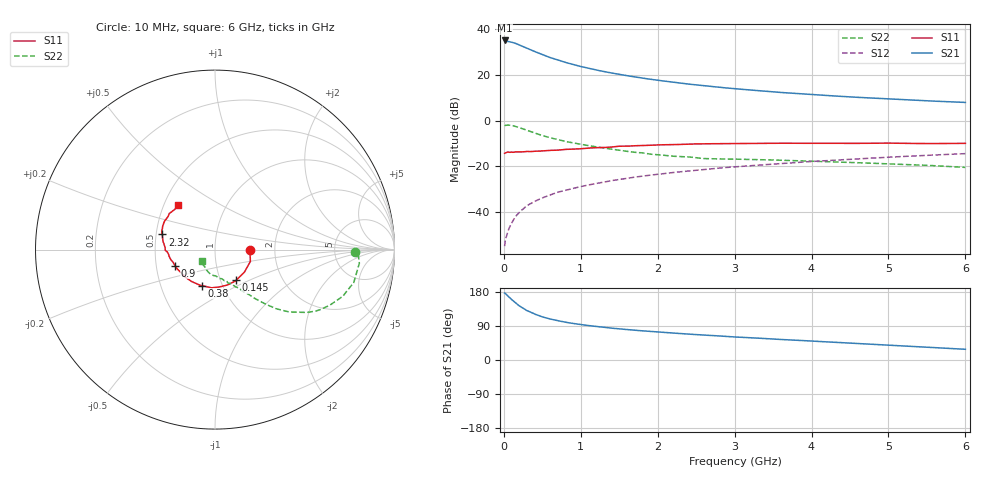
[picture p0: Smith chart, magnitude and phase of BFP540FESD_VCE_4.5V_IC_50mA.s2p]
! Infineon Technologies  Discrete & RF Semiconductors
! BFP540FESD
! VCE =  4.5 V,  IC =  50 mA
! Common Emitter S-Parameters:  Nov 2015
# GHz  S  MA  R  50
!  f  S11  S21  S12  S22
! GHz  MAG  ANG  MAG  ANG  MAG  ANG  MAG  ANG
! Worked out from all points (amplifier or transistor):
!   210 points, 10 MHz to 6 GHz, reference 50 ohm
!   highest |S21| = 35.2 dB at 10 MHz (marker M1)
!   |S21| within 3 dB of that: start of sweep to 274.3 MHz
!   unconditionally stable (mu >= 1): start of sweep to 47.57 MHz; 1.197 GHz to end of sweep
!   at 185 MHz: K = 0.67, MSG = 37.1 dB, |S12| = -40.7 dB
!   at 1.52 GHz: K = 1.03, MAG = 21.8 dB, |S12| = -25.6 dB
!   at 6 GHz: K = 1.16, MAG = 8.8 dB, |S12| = -14.4 dB
!   S11 on the Smith chart (normalised r, x): 10 MHz: 1.48, -0.00; 145 MHz: 1.19, -0.42; 380 MHz: 0.80, -0.34; 900 MHz: 0.63, -0.12; 2.32 GHz: 0.54, +0.10; 6 GHz: 0.59, +0.33
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0.01  0.1943 -0.1  57.35 176.7  0.0018 35.9  0.7822 -1.0
0.02  0.198 -8.8  55.37 175.3  0.0025 33.3  0.7942 0.1
0.05  0.208 -18.5  54.89 169.6  0.0037 59.2  0.8079 -5.4
0.1  0.2064 -37.5  52.57 159.8  0.0057 64.0  0.7945 -13.4
0.145  0.2075 -55.2  49.94 152.0  0.0077 64.6  0.7611 -19.4
0.2  0.209 -70.2  45.94 143.0  0.0098 64.9  0.7103 -25.9
0.24  0.2087 -80.5  42.99 137.8  0.0113 67.4  0.6741 -29.8
0.3  0.2137 -95.2  38.91 130.4  0.0139 67.7  0.6198 -34.4
0.38  0.2135 -109.7  33.98 123.1  0.0165 68.1  0.5562 -38.8
0.4  0.2155 -113.2  32.84 121.0  0.0171 68.2  0.5409 -40.0
0.5  0.2206 -126.7  28.11 113.8  0.0205 68.1  0.4742 -44.0
0.6  0.2256 -136.9  24.27 108.3  0.0236 69.4  0.4251 -46.5
0.7  0.2277 -144.7  21.38 103.7  0.0273 69.2  0.3888 -48.5
0.9  0.24 -158.1  17.04 96.4  0.0331 70.6  0.3277 -52.1
1.02  0.2457 -164.0  15.16 93.0  0.0369 69.0  0.3019 -53.9
1.5  0.2775 -179.4  10.38 82.2  0.0521 68.3  0.2276 -62.4
2.02  0.2975 168.7  7.635 73.6  0.0678 65.5  0.1798 -73.5
2.32  0.3053 164.0  6.605 69.5  0.0772 63.6  0.1643 -79.2
3.1  0.3196 155.1  4.879 59.8  0.1007 58.9  0.1434 -94.7
4.1  0.3209 148.2  3.663 48.9  0.1314 52.4  0.1287 -108.0
5.1  0.3226 140.4  2.955 38.0  0.1626 44.5  0.1123 -120.3
6  0.3207 129.7  2.523 28.3  0.1909 36.9  0.0954 -138.7
